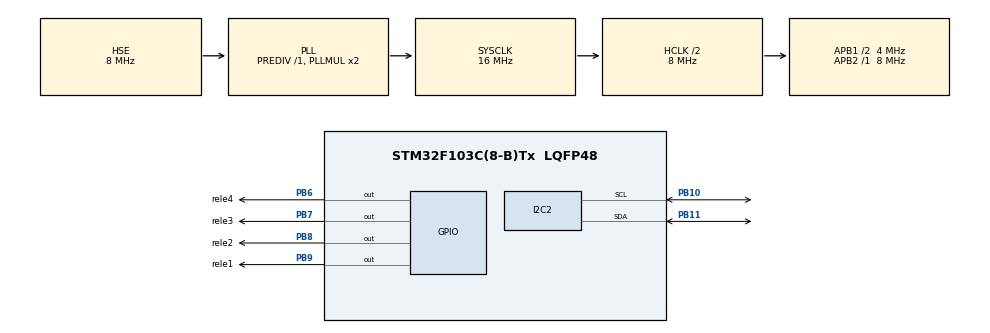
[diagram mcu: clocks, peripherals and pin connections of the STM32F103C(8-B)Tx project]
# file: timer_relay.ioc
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I2C2.I2C_Mode=I2C_Standard
Mcu.Family=STM32F1
Mcu.Name=STM32F103C(8-B)Tx
Mcu.Package=LQFP48
NVIC.PriorityGroup=NVIC_PRIORITYGROUP_4
PA13.Mode=Serial_Wire
PA13.Signal=SYS_JTMS-SWDIO
PA14.Mode=Serial_Wire
PA14.Signal=SYS_JTCK-SWCLK
PB10.Mode=I2C
PB10.Signal=I2C2_SCL
PB11.Mode=I2C
PB11.Signal=I2C2_SDA
PB6.GPIO_Label=rele4
PB6.GPIO_ModeDefaultOutputPP=GPIO_MODE_OUTPUT_PP
PB6.GPIO_PuPd=GPIO_NOPULL
PB6.GPIO_Speed=GPIO_SPEED_FREQ_LOW
PB6.PinState=GPIO_PIN_SET
PB6.Signal=GPIO_Output
PB7.GPIO_Label=rele3
PB7.GPIO_ModeDefaultOutputPP=GPIO_MODE_OUTPUT_PP
PB7.GPIO_PuPd=GPIO_NOPULL
PB7.GPIO_Speed=GPIO_SPEED_FREQ_LOW
PB7.PinState=GPIO_PIN_SET
PB7.Signal=GPIO_Output
PB8.GPIO_Label=rele2
PB8.GPIO_ModeDefaultOutputPP=GPIO_MODE_OUTPUT_PP
PB8.GPIO_PuPd=GPIO_NOPULL
PB8.GPIO_Speed=GPIO_SPEED_FREQ_LOW
PB8.PinState=GPIO_PIN_SET
PB8.Signal=GPIO_Output
PB9.GPIO_Label=rele1
PB9.GPIO_ModeDefaultOutputPP=GPIO_MODE_OUTPUT_PP
PB9.GPIO_PuPd=GPIO_NOPULL
PB9.GPIO_Speed=GPIO_SPEED_FREQ_LOW
PB9.PinState=GPIO_PIN_SET
PB9.Signal=GPIO_Output
PC14-OSC32_IN.Mode=LSE-External-Oscillator
PC14-OSC32_IN.Signal=RCC_OSC32_IN
PC15-OSC32_OUT.Mode=LSE-External-Oscillator
PC15-OSC32_OUT.Signal=RCC_OSC32_OUT
PD0-OSC_IN.Mode=HSE-External-Oscillator
PD0-OSC_IN.Signal=RCC_OSC_IN
PD1-OSC_OUT.Mode=HSE-External-Oscillator
PD1-OSC_OUT.Signal=RCC_OSC_OUT
ProjectManager.HeapSize=0x200
ProjectManager.StackSize=0x400
ProjectManager.TargetToolchain=STM32CubeIDE
RCC.AHBCLKDivider=RCC_SYSCLK_DIV2
RCC.AHBFreq_Value=8000000
RCC.APB1CLKDivider=RCC_HCLK_DIV2
RCC.APB1Freq_Value=4000000
RCC.APB1TimFreq_Value=8000000
RCC.APB2Freq_Value=8000000
RCC.APB2TimFreq_Value=8000000
RCC.HCLKFreq_Value=8000000
RCC.PLLSourceVirtual=RCC_PLLSOURCE_HSE
RCC.RTCClockSelection=RCC_RTCCLKSOURCE_LSE
RCC.SYSCLKFreq_VALUE=16000000
RCC.SYSCLKSource=RCC_SYSCLKSOURCE_PLLCLK
RCC.USBFreq_Value=16000000
RTC.Date=5
RTC.Hours=15
RTC.Minutes=26
RTC.Month=RTC_MONTH_JULY
RTC.WeekDay=RTC_WEEKDAY_TUESDAY
RTC.Year=23
VP_RTC_VS_RTC_Activate.Mode=RTC_Enabled
VP_RTC_VS_RTC_Calendar.Mode=RTC_Calendar
board=custom

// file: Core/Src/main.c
/* USER CODE BEGIN Header */
/**
 ******************************************************************************
 * @file           : main.c
 * @brief          : Main program body
 ******************************************************************************
 * @attention
 *
 * Copyright (c) 2023 STMicroelectronics.
 * All rights reserved.
 *
 * This software is licensed under terms that can be found in the LICENSE file
 * in the root directory of this software component.
 * If no LICENSE file comes with this software, it is provided AS-IS.
 *
 ******************************************************************************
 */
/* USER CODE END Header */
#include "main.h"

#include "gpio.h"
#include "i2c.h"
#include "rtc.h"

/* USER CODE BEGIN Includes */
#include "ssd1306.h"
#include "ssd1306_fonts.h"
#include "ssd1306_tests.h"
#include "stdio.h"
/* USER CODE END Includes */

/* USER CODE BEGIN PTD */
RTC_DateTypeDef data;
RTC_TimeTypeDef tempo;

/* USER CODE END PTD */

/* USER CODE BEGIN PV */
uint8_t segundos, minutos, horas, dia_semana, dia, mes, ano;
uint8_t horario_uv[] = {10, 12, 18, 20};  // lista formada por pares, sempre acrescentar uma hora pra ligar e uma pra desligar
uint8_t estado_uv = 0;
uint8_t horas_restantes, minutos_restantes, segundos_restantes;
char text_buffer[50];
/* USER CODE END PV */

void SystemClock_Config(void);

int main(void) {

    /* MCU Configuration--------------------------------------------------------*/

    /* Reset of all peripherals, Initializes the Flash interface and the Systick. */
    HAL_Init();

    /* Configure the system clock */
    SystemClock_Config();

    /* Initialize all configured peripherals */
    MX_GPIO_Init();
    MX_RTC_Init();
    MX_I2C2_Init();

    /* Infinite loop */
    /* USER CODE BEGIN WHILE */
    ssd1306_Init();
    while (1) {
        /* USER CODE END WHILE */

        /* USER CODE BEGIN 3 */
        HAL_RTC_GetTime(&hrtc, &tempo, RTC_FORMAT_BIN);
        segundos = tempo.Seconds;
        minutos = tempo.Minutes;
        horas = tempo.Hours;

        for (uint8_t i = 0; i < (sizeof(horario_uv) - 1); i += 2) {
            estado_uv = i;
            if (horas < horario_uv[i]) {
                break;
            } else if (horas < horario_uv[i + 1]) {
                estado_uv++;
                break;
            } else if (i == (sizeof(horario_uv) - 2)) {
                estado_uv = 0;
            }
        }
        HAL_GPIO_WritePin(rele1_GPIO_Port, rele1_Pin, !(estado_uv % 2));
        HAL_GPIO_WritePin(rele2_GPIO_Port, rele2_Pin, !(estado_uv % 2));

        uint8_t i = horas;
        horas_restantes = 0;
        while (i != horario_uv[estado_uv]) {
            i++;
            horas_restantes++;
            if (i >= 24) {
                i = 0;
            }
        }
        horas_restantes--;
        minutos_restantes = 59 - minutos;
        segundos_restantes = 60 - segundos;
        if (segundos_restantes == 60) {
            segundos_restantes = 0;
            minutos_restantes++;
        }
        if (minutos_restantes == 60) {
            minutos_restantes = 0;
            horas_restantes++;
        }

        ssd1306_Fill(Black);
        ssd1306_DrawRectangle(0, 0, 127, 15, White);
        ssd1306_DrawRectangle(0, 16, 127, 63, White);
        ssd1306_SetCursor(13, 3);
        sprintf(text_buffer, "Hora: %02d:%02d:%02d", horas, minutos, segundos);
        ssd1306_WriteString(text_buffer, Font_7x10, White);
        if (!(estado_uv % 2)) {
            ssd1306_SetCursor(12, 19);
            ssd1306_WriteString(" Liga em: ", Font_11x18, White);
        } else {
            ssd1306_SetCursor(6, 19);
            ssd1306_WriteString("Desliga em:", Font_11x18, White);
        }
        ssd1306_SetCursor(12, 43);
        sprintf(text_buffer, " %02d:%02d:%02d ", horas_restantes, minutos_restantes, segundos_restantes);
        ssd1306_WriteString(text_buffer, Font_11x18, White);
        ssd1306_UpdateScreen();
    }
    /* USER CODE END 3 */
}

void SystemClock_Config(void) {
    RCC_OscInitTypeDef RCC_OscInitStruct = {0};
    RCC_ClkInitTypeDef RCC_ClkInitStruct = {0};
    RCC_PeriphCLKInitTypeDef PeriphClkInit = {0};

    /** Initializes the RCC Oscillators according to the specified parameters
     * in the RCC_OscInitTypeDef structure.
     */
    RCC_OscInitStruct.OscillatorType = RCC_OSCILLATORTYPE_HSE | RCC_OSCILLATORTYPE_LSE;
    RCC_OscInitStruct.HSEState = RCC_HSE_ON;
    RCC_OscInitStruct.HSEPredivValue = RCC_HSE_PREDIV_DIV1;
    RCC_OscInitStruct.LSEState = RCC_LSE_ON;
    RCC_OscInitStruct.HSIState = RCC_HSI_ON;
    RCC_OscInitStruct.PLL.PLLState = RCC_PLL_ON;
    RCC_OscInitStruct.PLL.PLLSource = RCC_PLLSOURCE_HSE;
    RCC_OscInitStruct.PLL.PLLMUL = RCC_PLL_MUL2;
    if (HAL_RCC_OscConfig(&RCC_OscInitStruct) != HAL_OK) {
        Error_Handler();
    }

    /** Initializes the CPU, AHB and APB buses clocks
     */
    RCC_ClkInitStruct.ClockType = RCC_CLOCKTYPE_HCLK | RCC_CLOCKTYPE_SYSCLK | RCC_CLOCKTYPE_PCLK1 | RCC_CLOCKTYPE_PCLK2;
    RCC_ClkInitStruct.SYSCLKSource = RCC_SYSCLKSOURCE_PLLCLK;
    RCC_ClkInitStruct.AHBCLKDivider = RCC_SYSCLK_DIV2;
    RCC_ClkInitStruct.APB1CLKDivider = RCC_HCLK_DIV2;
    RCC_ClkInitStruct.APB2CLKDivider = RCC_HCLK_DIV1;

    if (HAL_RCC_ClockConfig(&RCC_ClkInitStruct, FLASH_LATENCY_0) != HAL_OK) {
        Error_Handler();
    }
    PeriphClkInit.PeriphClockSelection = RCC_PERIPHCLK_RTC;
    PeriphClkInit.RTCClockSelection = RCC_RTCCLKSOURCE_LSE;
    if (HAL_RCCEx_PeriphCLKConfig(&PeriphClkInit) != HAL_OK) {
        Error_Handler();
    }
}

void Error_Handler(void) {
    __disable_irq();
    while (1) {
    }
}
